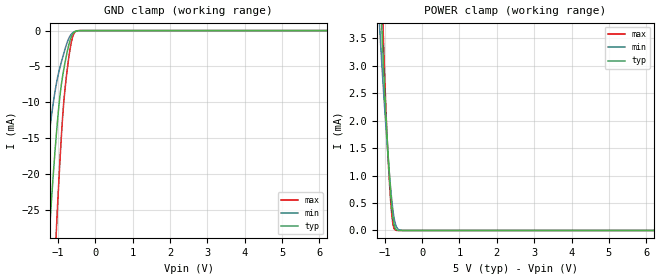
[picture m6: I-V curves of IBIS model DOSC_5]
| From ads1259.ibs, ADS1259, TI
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|   Input DOSC model 5V
[Model]   DOSC_5
Model_type   Input
|Signals   XTAL1/CKLIN, XTAL2
Vinl = 1.0V
Vinh = 4.0V
| variable   typ   min   max
C_comp   7.1596440pF   8.4916280pF   5.8309020pF
[Voltage Range]   5.000V   4.750V   5.250V
[power clamp reference]   5.0V   4.75V   5.25V
[Temperature Range]   27.0   105.0   -40.0
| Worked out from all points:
|   GND clamp passes 1 mA (typ) near -0.65 V on its own axis
|   POWER clamp passes 1 mA (typ) near -0.87 V on its own axis
[GND Clamp]
|   Voltage   I(typ)   I(min)   I(max)
-5V       -433.9mA   -308mA     -535.5mA
-1.544V   -56.78mA   -30.41mA   -89.46mA
-1.485V   -51.16mA   -27.09mA   -81.93mA
-1.222V   -27.94mA   -14.13mA   -49.14mA
-1.047V   -15.14mA   -7.723mA   -29mA
-1.034V   -14.28mA   -7.333mA   -27.55mA
-948.2mV  -9.472mA   -5.291mA   -18.84mA
-885.5mV  -6.901mA   -4.058mA   -13.31mA
-803.2mV  -4.401mA   -2.557mA   -8.047mA
-640.2mV  -897uA     -527.6uA   -1.708mA
-508.5mV  -60.67uA   -80.59uA   -86.32uA
9.985V    0A         0A         0A
[POWER Clamp]
|   Voltage   I(typ)   I(min)   I(max)
-5V       85.03mA    69.73mA    103.4mA
-1.136V   4.74mA     3.741mA    5.779mA
-1.082V   3.807mA    3.11mA     4.559mA
-1.042V   3.172mA    2.679mA    3.702mA
-948.2mV  1.873mA    1.726mA    1.916mA
-905mV    1.363mA    1.322mA    1.283mA
-861.2mV  896.2uA    942.7uA    765.7uA
-816.2mV  491.3uA    601.1uA    349.1uA
-782mV    258.8uA    388.5uA    137.7uA
-705.4mV  28.37uA    103.8uA    5.838uA
-513mV    21.74nA    552.7nA    44.59nA
9.985V    0A         0A         0A
